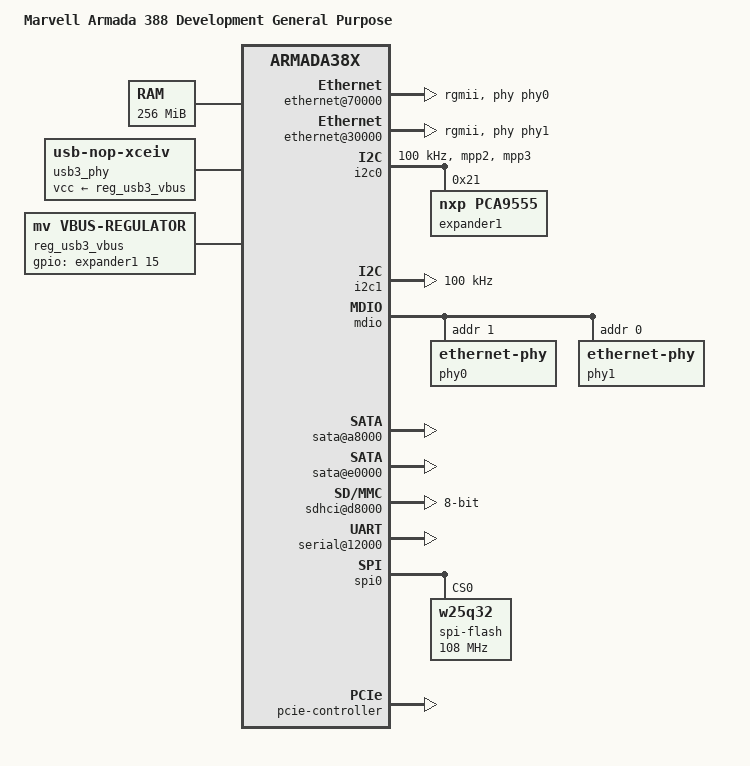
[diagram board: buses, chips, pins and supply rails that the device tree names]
/*
 * Device Tree file for Marvell Armada 388 Development General Purpose board
 * (DB-88F6828-GP)
 *
 *  Copyright (C) 2014 Marvell
 *
 * Nadav Haklai <nadavh@marvell.com>
 *
 * This file is licensed under the terms of the GNU General Public
 * License version 2.  This program is licensed "as is" without any
 * warranty of any kind, whether express or implied.
 */

/dts-v1/;
#include <dt-bindings/gpio/gpio.h>
#include <dt-bindings/interrupt-controller/irq.h>
#include "armada-385-388.dtsi"

/ {
	model = "Marvell Armada 388 Development General Purpose";
	compatible = "marvell,a388-db-gp", "marvell,armada388", "marvell,armada38x";

	chosen {
		bootargs = "console=ttyS0,115200 earlyprintk";
	};

	memory {
		device_type = "memory";
		reg = <0x00000000 0x10000000>; /* 256 MB */
	};

	soc {
		internal-regs {
			ethernet@70000 {
				status = "okay";
				phy = <&phy0>;
				phy-mode = "rgmii";
			};

			ethernet@30000 {
				status = "okay";
				phy = <&phy1>;
				phy-mode = "rgmii";
			};

			i2c0: i2c@11000 {
				pinctrl-names = "default";
				pinctrl-0 = <&i2c0_pins>;
				status = "okay";
				clock-frequency = <100000>;

				expander1: pca9555@21 {
					compatible = "nxp,pca9555";
					pinctrl-names = "default";
					gpio-controller;
					#gpio-cells = <2>;
					reg = <0x21>;
				};
			};

			i2c1: i2c@11100 {
				status = "okay";
				clock-frequency = <100000>;
			};

			mdio {
				phy0: ethernet-phy@1 {
					reg = <1>;
				};

				phy1: ethernet-phy@0 {
					reg = <0>;
				};
			};

			sata@a8000 {
				status = "okay";
			};

			sata@e0000 {
				status = "okay";
			};

			sdhci@d8000 {
				dat3-cd;
				cd-inverted;
				wp-inverted;
				bus-width = <8>;
				status = "okay";
				no-1-8-v;
			};

			serial@12000 {
				status = "okay";
			};

			spi0: spi@10600 {
				status = "okay";

				spi-flash@0 {
					#address-cells = <1>;
					#size-cells = <0>;
					compatible = "w25q32";
					reg = <0>; /* Chip select 0 */
					spi-max-frequency = <108000000>;
					mtd0@00000000 {
						label = "U-Boot";
						reg = <0x00000000 0x00400000>;
						read-only;
					};

					mtd1@00400000 {
						label = "Root";
						reg = <0x00400000 0x00c00000>;
					};
				};
			};

			crypto@9D000 {
				status = "okay";
			};

			pm_pic {
				pinctrl-0 = <&pic_pins>;
				pinctrl-names = "default";
				ctrl-gpios = <&gpio1 1 GPIO_ACTIVE_LOW>,
					     <&gpio1 2 GPIO_ACTIVE_LOW>,
					     <&gpio1 3 GPIO_ACTIVE_LOW>;
			};

			pinctrl {
				pic_pins: pic-pins-0 {
					marvell,pins = "mpp33", "mpp34", "mpp35";
					marvell,function = "gpio";
				};

				i2c0_pins: i2c-pins-0 {
					marvell,pins = "mpp2", "mpp3";
					marvell,function = "i2c0";
				};
			};
		};

		pcie-controller {
			status = "okay";
			/*
			 * The two PCIe units are accessible through
			 * standard PCIe slots on the board.
			 */
			pcie@1,0 {
				/* Port 0, Lane 0 */
				status = "okay";
			};
			pcie@2,0 {
				/* Port 1, Lane 0 */
				status = "disabled";
			};
		};
	};

	usb3_phy: usb3_phy {
		compatible = "usb-nop-xceiv";
		vcc-supply = <&reg_usb3_vbus>;
	};

	reg_usb3_vbus: usb3-vbus {
		compatible = "mv,vbus-regulator";
		regulator-name = "usb3-vbus";
		regulator-min-microvolt = <5000000>;
		regulator-max-microvolt = <5000000>;
		enable-active-high;
		regulator-always-on;
		gpio = <&expander1 15 GPIO_ACTIVE_HIGH>;
                regulator-state-mem {
			regulator-off-in-suspend;
		};
	};
};
